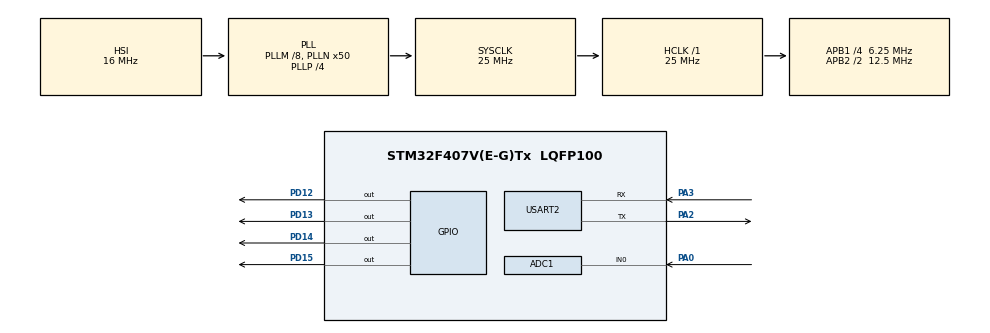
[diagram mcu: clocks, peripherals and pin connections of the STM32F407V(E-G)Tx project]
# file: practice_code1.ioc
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Mcu.Family=STM32F4
RCC.CortexFreq_Value=25000000
ADC1.Rank-0\#ChannelRegularConversion=1
NVIC.TIM6_DAC_IRQn=true\:0\:0\:false\:false\:true\:true\:true
TIM6.Prescaler=12499
VP_TIM6_VS_ClockSourceINT.Mode=Enable_Timer
RCC.APB1CLKDivider=RCC_HCLK_DIV4
NVIC.USART2_IRQn=true\:0\:0\:false\:false\:true\:true\:true
RCC.SYSCLKSource=RCC_SYSCLKSOURCE_PLLCLK
ProjectManager.StackSize=0x400
PA0-WKUP.Signal=ADCx_IN0
VP_TIM7_VS_ClockSourceINT.Mode=Enable_Timer
PD13.Signal=GPIO_Output
PA3.Mode=Asynchronous
NVIC.ADC_IRQn=true\:0\:0\:false\:false\:true\:true\:true
ProjectManager.TargetToolchain=STM32CubeIDE
RCC.HCLKFreq_Value=25000000
RCC.APB2TimFreq_Value=25000000
TIM7.Period=499
RCC.LSE_VALUE=32768
RCC.AHBFreq_Value=25000000
ADC1.Channel-0\#ChannelRegularConversion=ADC_CHANNEL_0
RCC.HSE_VALUE=8000000
TIM7.Prescaler=12499
board=STM32F407G-DISC1
RCC.VCOOutputFreq_Value=100000000
RCC.APB2Freq_Value=12500000
SH.ADCx_IN0.0=ADC1_IN0,IN0
TIM6.Period=2999
Mcu.Name=STM32F407V(E-G)Tx
ADC1.SamplingTime-0\#ChannelRegularConversion=ADC_SAMPLETIME_3CYCLES
PA2.Signal=USART2_TX
PD14.Signal=GPIO_Output
RCC.48MHZClocksFreq_Value=14285714.285714285
RCC.SYSCLKFreq_VALUE=25000000
Mcu.Package=LQFP100
ADC1.master=1
USART2.VirtualMode=VM_ASYNC
PD12.Signal=GPIO_Output
ProjectManager.HeapSize=0x200
RCC.HSI_VALUE=16000000
RCC.PLLP=RCC_PLLP_DIV4
RCC.PLLQ=7
NVIC.PriorityGroup=NVIC_PRIORITYGROUP_0
ADC1.NbrOfConversionFlag=1
RCC.APB2CLKDivider=RCC_HCLK_DIV2
RCC.PLLM=8
RCC.PLLN=50
RCC.APB1TimFreq_Value=12500000
PA2.Mode=Asynchronous
RCC.APB1Freq_Value=6250000
PD15.Signal=GPIO_Output
NVIC.TIM7_IRQn=true\:0\:0\:false\:false\:true\:true\:true
PA3.Signal=USART2_RX

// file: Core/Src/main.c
/* USER CODE BEGIN Header */
/**
  ******************************************************************************
  * @file           : main.c
  * @brief          : Main program body
  ******************************************************************************
  * @attention
  *
  * <h2><center>&copy; Copyright (c) 2022 STMicroelectronics.
  * All rights reserved.</center></h2>
  *
  * This software component is licensed by ST under BSD 3-Clause license,
  * the "License"; You may not use this file except in compliance with the
  * License. You may obtain a copy of the License at:
  *                        opensource.org/licenses/BSD-3-Clause
  *
  ******************************************************************************
  */
/* USER CODE END Header */
#include "main.h"

ADC_HandleTypeDef hadc1;

TIM_HandleTypeDef htim6;
TIM_HandleTypeDef htim7;

UART_HandleTypeDef huart2;

void SystemClock_Config(void);
static void MX_GPIO_Init(void);
static void MX_ADC1_Init(void);
static void MX_TIM6_Init(void);
static void MX_TIM7_Init(void);
static void MX_USART2_UART_Init(void);

int main(void)
{

  /* MCU Configuration--------------------------------------------------------*/

  /* Reset of all peripherals, Initializes the Flash interface and the Systick. */
  HAL_Init();

  /* Configure the system clock */
  SystemClock_Config();

  /* Initialize all configured peripherals */
  MX_GPIO_Init();
  MX_ADC1_Init();
  MX_TIM6_Init();
  MX_TIM7_Init();
  MX_USART2_UART_Init();
  /* USER CODE BEGIN 2 */
  HAL_TIM_Base_Start_IT(&htim6);
  HAL_TIM_Base_Start_IT(&htim7);

  /* USER CODE END 2 */

  /* Infinite loop */
  while (1)
  {

  }
}

void SystemClock_Config(void)
{
  RCC_OscInitTypeDef RCC_OscInitStruct = {0};
  RCC_ClkInitTypeDef RCC_ClkInitStruct = {0};

  /** Configure the main internal regulator output voltage
  */
  __HAL_RCC_PWR_CLK_ENABLE();
  __HAL_PWR_VOLTAGESCALING_CONFIG(PWR_REGULATOR_VOLTAGE_SCALE1);
  /** Initializes the RCC Oscillators according to the specified parameters
  * in the RCC_OscInitTypeDef structure.
  */
  RCC_OscInitStruct.OscillatorType = RCC_OSCILLATORTYPE_HSI;
  RCC_OscInitStruct.HSIState = RCC_HSI_ON;
  RCC_OscInitStruct.HSICalibrationValue = RCC_HSICALIBRATION_DEFAULT;
  RCC_OscInitStruct.PLL.PLLState = RCC_PLL_ON;
  RCC_OscInitStruct.PLL.PLLSource = RCC_PLLSOURCE_HSI;
  RCC_OscInitStruct.PLL.PLLM = 8;
  RCC_OscInitStruct.PLL.PLLN = 50;
  RCC_OscInitStruct.PLL.PLLP = RCC_PLLP_DIV4;
  RCC_OscInitStruct.PLL.PLLQ = 7;
  if (HAL_RCC_OscConfig(&RCC_OscInitStruct) != HAL_OK)
  {
    Error_Handler();
  }
  /** Initializes the CPU, AHB and APB buses clocks
  */
  RCC_ClkInitStruct.ClockType = RCC_CLOCKTYPE_HCLK|RCC_CLOCKTYPE_SYSCLK
                              |RCC_CLOCKTYPE_PCLK1|RCC_CLOCKTYPE_PCLK2;
  RCC_ClkInitStruct.SYSCLKSource = RCC_SYSCLKSOURCE_PLLCLK;
  RCC_ClkInitStruct.AHBCLKDivider = RCC_SYSCLK_DIV1;
  RCC_ClkInitStruct.APB1CLKDivider = RCC_HCLK_DIV4;
  RCC_ClkInitStruct.APB2CLKDivider = RCC_HCLK_DIV2;

  if (HAL_RCC_ClockConfig(&RCC_ClkInitStruct, FLASH_LATENCY_0) != HAL_OK)
  {
    Error_Handler();
  }
}

static void MX_ADC1_Init(void)
{

  ADC_ChannelConfTypeDef sConfig = {0};

  /** Configure the global features of the ADC (Clock, Resolution, Data Alignment and number of conversion)
  */
  hadc1.Instance = ADC1;
  hadc1.Init.ClockPrescaler = ADC_CLOCK_SYNC_PCLK_DIV2;
  hadc1.Init.Resolution = ADC_RESOLUTION_12B;
  hadc1.Init.ScanConvMode = DISABLE;
  hadc1.Init.ContinuousConvMode = DISABLE;
  hadc1.Init.DiscontinuousConvMode = DISABLE;
  hadc1.Init.ExternalTrigConvEdge = ADC_EXTERNALTRIGCONVEDGE_NONE;
  hadc1.Init.ExternalTrigConv = ADC_SOFTWARE_START;
  hadc1.Init.DataAlign = ADC_DATAALIGN_RIGHT;
  hadc1.Init.NbrOfConversion = 1;
  hadc1.Init.DMAContinuousRequests = DISABLE;
  hadc1.Init.EOCSelection = ADC_EOC_SINGLE_CONV;
  if (HAL_ADC_Init(&hadc1) != HAL_OK)
  {
    Error_Handler();
  }
  /** Configure for the selected ADC regular channel its corresponding rank in the sequencer and its sample time.
  */
  sConfig.Channel = ADC_CHANNEL_0;
  sConfig.Rank = 1;
  sConfig.SamplingTime = ADC_SAMPLETIME_3CYCLES;
  if (HAL_ADC_ConfigChannel(&hadc1, &sConfig) != HAL_OK)
  {
    Error_Handler();
  }

}

static void MX_TIM6_Init(void)
{

  TIM_MasterConfigTypeDef sMasterConfig = {0};

  htim6.Instance = TIM6;
  htim6.Init.Prescaler = 12499;
  htim6.Init.CounterMode = TIM_COUNTERMODE_UP;
  htim6.Init.Period = 2999;
  htim6.Init.AutoReloadPreload = TIM_AUTORELOAD_PRELOAD_DISABLE;
  if (HAL_TIM_Base_Init(&htim6) != HAL_OK)
  {
    Error_Handler();
  }
  sMasterConfig.MasterOutputTrigger = TIM_TRGO_RESET;
  sMasterConfig.MasterSlaveMode = TIM_MASTERSLAVEMODE_DISABLE;
  if (HAL_TIMEx_MasterConfigSynchronization(&htim6, &sMasterConfig) != HAL_OK)
  {
    Error_Handler();
  }

}

static void MX_TIM7_Init(void)
{

  TIM_MasterConfigTypeDef sMasterConfig = {0};

  htim7.Instance = TIM7;
  htim7.Init.Prescaler = 12499;
  htim7.Init.CounterMode = TIM_COUNTERMODE_UP;
  htim7.Init.Period = 499;
  htim7.Init.AutoReloadPreload = TIM_AUTORELOAD_PRELOAD_DISABLE;
  if (HAL_TIM_Base_Init(&htim7) != HAL_OK)
  {
    Error_Handler();
  }
  sMasterConfig.MasterOutputTrigger = TIM_TRGO_RESET;
  sMasterConfig.MasterSlaveMode = TIM_MASTERSLAVEMODE_DISABLE;
  if (HAL_TIMEx_MasterConfigSynchronization(&htim7, &sMasterConfig) != HAL_OK)
  {
    Error_Handler();
  }

}

static void MX_USART2_UART_Init(void)
{

  huart2.Instance = USART2;
  huart2.Init.BaudRate = 115200;
  huart2.Init.WordLength = UART_WORDLENGTH_8B;
  huart2.Init.StopBits = UART_STOPBITS_1;
  huart2.Init.Parity = UART_PARITY_NONE;
  huart2.Init.Mode = UART_MODE_TX_RX;
  huart2.Init.HwFlowCtl = UART_HWCONTROL_NONE;
  huart2.Init.OverSampling = UART_OVERSAMPLING_16;
  if (HAL_UART_Init(&huart2) != HAL_OK)
  {
    Error_Handler();
  }

}

static void MX_GPIO_Init(void)
{
  GPIO_InitTypeDef GPIO_InitStruct = {0};

  /* GPIO Ports Clock Enable */
  __HAL_RCC_GPIOA_CLK_ENABLE();
  __HAL_RCC_GPIOD_CLK_ENABLE();

  /*Configure GPIO pin Output Level */
  HAL_GPIO_WritePin(GPIOD, GPIO_PIN_12|GPIO_PIN_13|GPIO_PIN_14|GPIO_PIN_15, GPIO_PIN_RESET);

  /*Configure GPIO pins : PD12 PD13 PD14 PD15 */
  GPIO_InitStruct.Pin = GPIO_PIN_12|GPIO_PIN_13|GPIO_PIN_14|GPIO_PIN_15;
  GPIO_InitStruct.Mode = GPIO_MODE_OUTPUT_PP;
  GPIO_InitStruct.Pull = GPIO_NOPULL;
  GPIO_InitStruct.Speed = GPIO_SPEED_FREQ_LOW;
  HAL_GPIO_Init(GPIOD, &GPIO_InitStruct);

}

/* USER CODE BEGIN 4 */
void HAL_TIM_PeriodElapsedCallback(TIM_HandleTypeDef *htim)
{
	if(htim == &htim6)
	{
		HAL_GPIO_WritePin(GPIOD, GPIO_PIN_13, GPIO_PIN_SET);
		HAL_ADC_Start_IT(&hadc1);
	}
	else if(htim == &htim7)
	{
		HAL_GPIO_TogglePin(GPIOD, GPIO_PIN_12);
	}
}

void HAL_ADC_ConvCpltCallback(ADC_HandleTypeDef* hadc)
{
	char str[40];
	int len;
	uint32_t result;

	if(hadc == &hadc1)
	{
		HAL_GPIO_WritePin(GPIOD, GPIO_PIN_14, GPIO_PIN_SET);
		result = HAL_ADC_GetValue(hadc);

		HAL_ADC_Stop_IT(hadc);

		len = sprintf(str,"ADC = %lu \r\n",result);
		HAL_UART_Transmit_IT(&huart2, str, len);

	}
}

void HAL_UART_TxCpltCallback(UART_HandleTypeDef *huart)
{
	HAL_GPIO_TogglePin(GPIOD, GPIO_PIN_15);

	HAL_GPIO_WritePin(GPIOD, GPIO_PIN_13, GPIO_PIN_RESET);
	HAL_GPIO_WritePin(GPIOD, GPIO_PIN_14, GPIO_PIN_RESET);
}
/* USER CODE END 4 */

void Error_Handler(void)
{
  __disable_irq();
  while (1)
  {
  }
}

/************************ (C) COPYRIGHT STMicroelectronics *****END OF FILE****/
